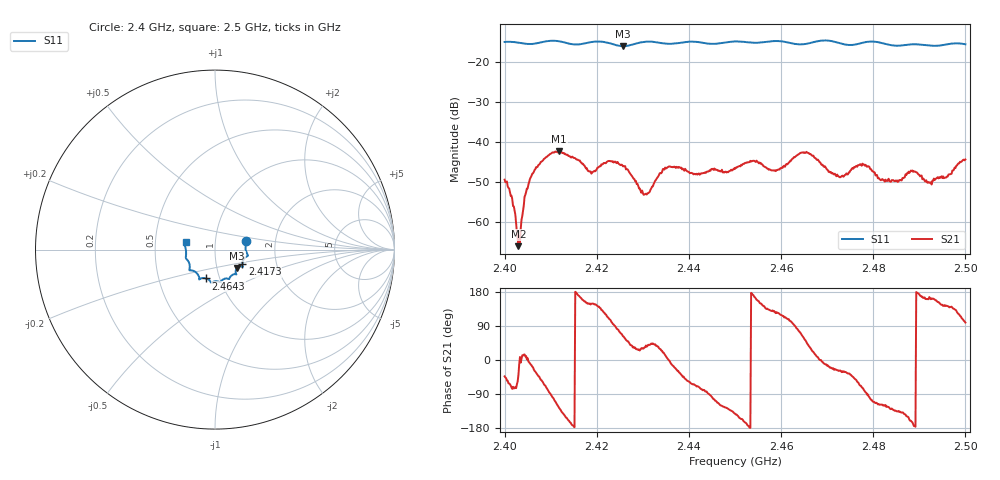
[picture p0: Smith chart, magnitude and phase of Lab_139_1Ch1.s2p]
# Hz S RI R 50
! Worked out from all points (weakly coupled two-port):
!   601 points, 2.4 GHz to 2.5 GHz, reference 50 ohm
!   highest |S21| = -42.27 dB at 2.4118 GHz (marker M1); lowest = -66.0 dB at 2.403 GHz (marker M2)
!   lowest |S11| = -15.9 dB at 2.4257 GHz (marker M3), VSWR 1.38, Z = 62.4 - j13.1 ohm
!   |S11| at or under -10 dB: start of sweep to end of sweep
!   S12 and S22 are empty: the file has one direction only
!   S11 on the Smith chart (normalised r, x): 2.4 GHz: 1.41, +0.14; 2.4173 GHz: 1.34, -0.23; 2.4643 GHz: 0.86, -0.28; 2.5 GHz: 0.72, +0.06
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2.4e9  0.1735 0.0496  0.00249 -0.00233  0 0  0 0
2.4015e9  0.1755 0.0437  0.000643 -0.00205  0 0  0 0
2.403e9  0.1736 0.0347  0.000389 -0.000318  0 0  0 0
2.404667e9  0.1704 0.0173  0.00235 0.000435  0 0  0 0
2.406e9  0.1705 0.000895  0.00386 -0.00122  0 0  0 0
2.411833e9  0.1805 -0.036  -0.00458 -0.00619  0 0  0 0
2.416667e9  0.1528 -0.0744  -0.0053 0.00167  0 0  0 0
2.417333e9  0.1522 -0.0819  -0.00462 0.0022  0 0  0 0
2.425667e9  0.1225 -0.1025  0.00229 0.00446  0 0  0 0
2.4305e9  0.1187 -0.1373  0.00187 0.00124  0 0  0 0
2.433333e9  0.113 -0.1366  0.00307 0.00215  0 0  0 0
2.435833e9  0.0953 -0.1419  0.00499 -0.000241  0 0  0 0
2.45e9  0.0295 -0.1809  -0.00366 -0.00289  0 0  0 0
2.459167e9  -0.0219 -0.1841  -0.00253 0.00372  0 0  0 0
2.464333e9  -0.0501 -0.1606  0.00266 0.0069  0 0  0 0
2.466667e9  -0.0763 -0.16  0.00619 0.00297  0 0  0 0
2.4725e9  -0.0893 -0.1516  0.00328 -0.00181  0 0  0 0
2.4775e9  -0.1312 -0.1161  0.00156 -0.00485  0 0  0 0
2.483333e9  -0.1407 -0.0898  -0.00196 -0.00291  0 0  0 0
2.488667e9  -0.1619 -0.0476  -0.00421 -0.000766  0 0  0 0
2.492167e9  -0.1609 -0.0235  -0.00305 0.000757  0 0  0 0
2.5e9  -0.1636 0.0421  -0.000934 0.00603  0 0  0 0
